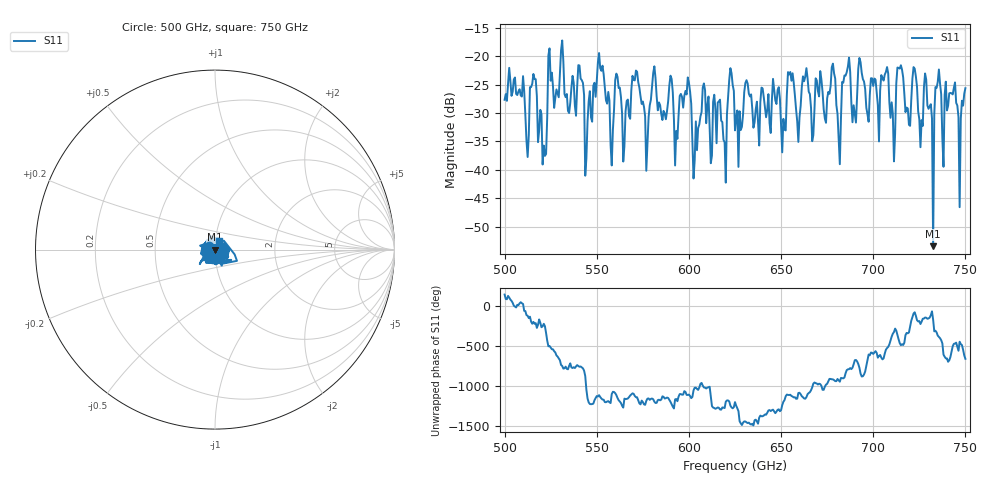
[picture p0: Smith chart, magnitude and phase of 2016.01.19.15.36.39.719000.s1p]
!Created with skrf (http://scikit-rf.org).
# GHz S RI R 50.0
!freq ReS11 ImS11
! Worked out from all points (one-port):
!   401 points, 500 GHz to 750 GHz, reference 50 ohm
!   lowest |S11| = -53.5 dB at 732.5 GHz (marker M1), VSWR 1.00, Z = 49.8 - j0.0428 ohm
!   |S11| at or under -10 dB: start of sweep to end of sweep
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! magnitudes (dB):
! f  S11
! 500 GHz  -27.7
! 511.9 GHz  -34.9
! 515.6 GHz  -23.1
! 521.9 GHz  -37.6
! 525 GHz  -24.3
! 531.2 GHz  -17.2
! 541.2 GHz  -24.0
! 544.4 GHz  -38.0
! 551.9 GHz  -22.1
! 558.1 GHz  -39.2
! 562.5 GHz  -25.5
! 593.8 GHz  -34.6
! 625 GHz  -33.1
! 651.2 GHz  -31.0
! 656.2 GHz  -23.0
! 666.9 GHz  -35.0
! 678.1 GHz  -21.3
! 681.2 GHz  -34.5
! 687.5 GHz  -22.8
! 706.9 GHz  -22.8
! 710.6 GHz  -30.1
! 714.4 GHz  -22.2
! 718.8 GHz  -29.2
! 722.5 GHz  -22.2
! 732.5 GHz  -53.5
! 735 GHz  -24.5
! 746.2 GHz  -30.7
! 750 GHz  -25.6
